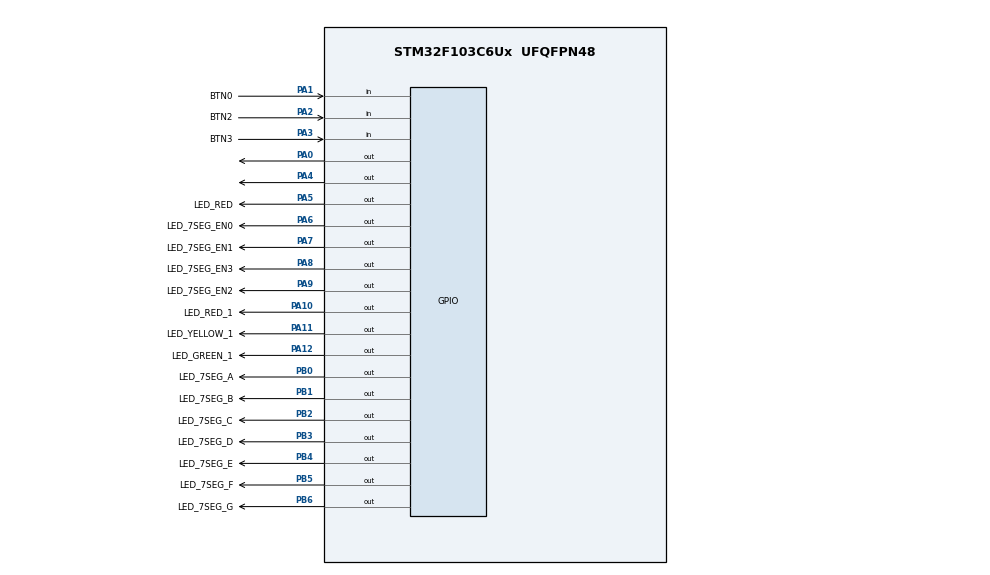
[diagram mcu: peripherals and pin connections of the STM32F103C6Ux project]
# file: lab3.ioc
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Mcu.Family=STM32F1
Mcu.Name=STM32F103C6Ux
Mcu.Package=UFQFPN48
NVIC.PriorityGroup=NVIC_PRIORITYGROUP_4
NVIC.TIM2_IRQn=true\:0\:0\:false\:false\:true\:true\:true
PA0-WKUP.Signal=GPIO_Output
PA1.GPIO_Label=BTN0
PA1.GPIO_PuPd=GPIO_PULLUP
PA1.Signal=GPIO_Input
PA10.GPIO_Label=LED_RED_1
PA10.Signal=GPIO_Output
PA11.GPIO_Label=LED_YELLOW_1
PA11.Signal=GPIO_Output
PA12.GPIO_Label=LED_GREEN_1
PA12.Signal=GPIO_Output
PA2.GPIO_Label=BTN2
PA2.GPIO_PuPd=GPIO_PULLUP
PA2.Signal=GPIO_Input
PA3.GPIO_Label=BTN3
PA3.GPIO_PuPd=GPIO_PULLUP
PA3.Signal=GPIO_Input
PA4.Signal=GPIO_Output
PA5.GPIO_Label=LED_RED
PA5.Signal=GPIO_Output
PA6.GPIO_Label=LED_7SEG_EN0
PA6.Signal=GPIO_Output
PA7.GPIO_Label=LED_7SEG_EN1
PA7.Signal=GPIO_Output
PA8.GPIO_Label=LED_7SEG_EN3
PA8.Signal=GPIO_Output
PA9.GPIO_Label=LED_7SEG_EN2
PA9.Signal=GPIO_Output
PB0.GPIO_Label=LED_7SEG_A
PB0.Signal=GPIO_Output
PB1.GPIO_Label=LED_7SEG_B
PB1.Signal=GPIO_Output
PB2.GPIO_Label=LED_7SEG_C
PB2.Signal=GPIO_Output
PB3.GPIO_Label=LED_7SEG_D
PB3.Signal=GPIO_Output
PB4.GPIO_Label=LED_7SEG_E
PB4.Signal=GPIO_Output
PB5.GPIO_Label=LED_7SEG_F
PB5.Signal=GPIO_Output
PB6.GPIO_Label=LED_7SEG_G
PB6.Signal=GPIO_Output
ProjectManager.HeapSize=0x200
ProjectManager.StackSize=0x400
ProjectManager.TargetToolchain=STM32CubeIDE
RCC.APB1Freq_Value=8000000
RCC.APB2Freq_Value=8000000
TIM2.Period=10-1
TIM2.Prescaler=8000-1
VP_SYS_VS_ND.Mode=No_Debug
VP_TIM2_VS_ClockSourceINT.Mode=Internal
board=custom

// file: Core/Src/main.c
/* USER CODE BEGIN Header */
/**
  ******************************************************************************
  * @file           : main.c
  * @brief          : Main program body
  ******************************************************************************
  * @attention
  *
  * <h2><center>&copy; Copyright (c) 2022 STMicroelectronics.
  * All rights reserved.</center></h2>
  *
  * This software component is licensed by ST under BSD 3-Clause license,
  * the "License"; You may not use this file except in compliance with the
  * License. You may obtain a copy of the License at:
  *                        opensource.org/licenses/BSD-3-Clause
  *
  ******************************************************************************
  */
/* USER CODE END Header */
#include "main.h"

/* USER CODE BEGIN Includes */
#include "software_timer.h"
#include "input_processing.h"
#include "input_reading.h"
#include "led_7seg_display.h"
#include "fsm_automatic.h"
#include "fsm_manual.h"
#include "button.h"
/* USER CODE END Includes */

TIM_HandleTypeDef htim2;

void SystemClock_Config(void);
static void MX_TIM2_Init(void);
static void MX_GPIO_Init(void);

int main(void)
{

  /* MCU Configuration--------------------------------------------------------*/

  /* Reset of all peripherals, Initializes the Flash interface and the Systick. */
  HAL_Init();

  /* Configure the system clock */
  SystemClock_Config();

  /* Initialize all configured peripherals */
  MX_TIM2_Init();
  MX_GPIO_Init();
  /* USER CODE BEGIN 2 */
  HAL_TIM_Base_Start_IT(&htim2);
  /* USER CODE END 2 */

  /* Infinite loop */
  /* USER CODE BEGIN WHILE */
  while (1)
  {
	  fsm_automatic_run();
	  fsm_manual_run();
	  fsm_for_input_processing ();

    /* USER CODE END WHILE */

  }
}

void SystemClock_Config(void)
{
  RCC_OscInitTypeDef RCC_OscInitStruct = {0};
  RCC_ClkInitTypeDef RCC_ClkInitStruct = {0};

  /** Initializes the RCC Oscillators according to the specified parameters
  * in the RCC_OscInitTypeDef structure.
  */
  RCC_OscInitStruct.OscillatorType = RCC_OSCILLATORTYPE_HSI;
  RCC_OscInitStruct.HSIState = RCC_HSI_ON;
  RCC_OscInitStruct.HSICalibrationValue = RCC_HSICALIBRATION_DEFAULT;
  RCC_OscInitStruct.PLL.PLLState = RCC_PLL_NONE;
  if (HAL_RCC_OscConfig(&RCC_OscInitStruct) != HAL_OK)
  {
    Error_Handler();
  }
  /** Initializes the CPU, AHB and APB buses clocks
  */
  RCC_ClkInitStruct.ClockType = RCC_CLOCKTYPE_HCLK|RCC_CLOCKTYPE_SYSCLK
                              |RCC_CLOCKTYPE_PCLK1|RCC_CLOCKTYPE_PCLK2;
  RCC_ClkInitStruct.SYSCLKSource = RCC_SYSCLKSOURCE_HSI;
  RCC_ClkInitStruct.AHBCLKDivider = RCC_SYSCLK_DIV1;
  RCC_ClkInitStruct.APB1CLKDivider = RCC_HCLK_DIV1;
  RCC_ClkInitStruct.APB2CLKDivider = RCC_HCLK_DIV1;

  if (HAL_RCC_ClockConfig(&RCC_ClkInitStruct, FLASH_LATENCY_0) != HAL_OK)
  {
    Error_Handler();
  }
}

static void MX_TIM2_Init(void)
{

  TIM_ClockConfigTypeDef sClockSourceConfig = {0};
  TIM_MasterConfigTypeDef sMasterConfig = {0};

  htim2.Instance = TIM2;
  htim2.Init.Prescaler = 8000-1;
  htim2.Init.CounterMode = TIM_COUNTERMODE_UP;
  htim2.Init.Period = 10-1;
  htim2.Init.ClockDivision = TIM_CLOCKDIVISION_DIV1;
  htim2.Init.AutoReloadPreload = TIM_AUTORELOAD_PRELOAD_DISABLE;
  if (HAL_TIM_Base_Init(&htim2) != HAL_OK)
  {
    Error_Handler();
  }
  sClockSourceConfig.ClockSource = TIM_CLOCKSOURCE_INTERNAL;
  if (HAL_TIM_ConfigClockSource(&htim2, &sClockSourceConfig) != HAL_OK)
  {
    Error_Handler();
  }
  sMasterConfig.MasterOutputTrigger = TIM_TRGO_RESET;
  sMasterConfig.MasterSlaveMode = TIM_MASTERSLAVEMODE_DISABLE;
  if (HAL_TIMEx_MasterConfigSynchronization(&htim2, &sMasterConfig) != HAL_OK)
  {
    Error_Handler();
  }

}

static void MX_GPIO_Init(void)
{
  GPIO_InitTypeDef GPIO_InitStruct = {0};

  /* GPIO Ports Clock Enable */
  __HAL_RCC_GPIOA_CLK_ENABLE();
  __HAL_RCC_GPIOB_CLK_ENABLE();

  /*Configure GPIO pin Output Level */
  HAL_GPIO_WritePin(GPIOA, GPIO_PIN_0|GPIO_PIN_4|LED_RED_Pin|LED_7SEG_EN0_Pin
                          |LED_7SEG_EN1_Pin|LED_7SEG_EN3_Pin|LED_7SEG_EN2_Pin|LED_RED_1_Pin
                          |LED_YELLOW_1_Pin|LED_GREEN_1_Pin, GPIO_PIN_RESET);

  /*Configure GPIO pin Output Level */
  HAL_GPIO_WritePin(GPIOB, LED_7SEG_A_Pin|LED_7SEG_B_Pin|LED_7SEG_C_Pin|LED_7SEG_D_Pin
                          |LED_7SEG_E_Pin|LED_7SEG_F_Pin|LED_7SEG_G_Pin, GPIO_PIN_RESET);

  /*Configure GPIO pins : PA0 PA4 LED_RED_Pin LED_7SEG_EN0_Pin
                           LED_7SEG_EN1_Pin LED_7SEG_EN3_Pin LED_7SEG_EN2_Pin LED_RED_1_Pin
                           LED_YELLOW_1_Pin LED_GREEN_1_Pin */
  GPIO_InitStruct.Pin = GPIO_PIN_0|GPIO_PIN_4|LED_RED_Pin|LED_7SEG_EN0_Pin
                          |LED_7SEG_EN1_Pin|LED_7SEG_EN3_Pin|LED_7SEG_EN2_Pin|LED_RED_1_Pin
                          |LED_YELLOW_1_Pin|LED_GREEN_1_Pin;
  GPIO_InitStruct.Mode = GPIO_MODE_OUTPUT_PP;
  GPIO_InitStruct.Pull = GPIO_NOPULL;
  GPIO_InitStruct.Speed = GPIO_SPEED_FREQ_LOW;
  HAL_GPIO_Init(GPIOA, &GPIO_InitStruct);

  /*Configure GPIO pins : BTN0_Pin BTN2_Pin BTN3_Pin */
  GPIO_InitStruct.Pin = BTN0_Pin|BTN2_Pin|BTN3_Pin;
  GPIO_InitStruct.Mode = GPIO_MODE_INPUT;
  GPIO_InitStruct.Pull = GPIO_PULLUP;
  HAL_GPIO_Init(GPIOA, &GPIO_InitStruct);

  /*Configure GPIO pins : LED_7SEG_A_Pin LED_7SEG_B_Pin LED_7SEG_C_Pin LED_7SEG_D_Pin
                           LED_7SEG_E_Pin LED_7SEG_F_Pin LED_7SEG_G_Pin */
  GPIO_InitStruct.Pin = LED_7SEG_A_Pin|LED_7SEG_B_Pin|LED_7SEG_C_Pin|LED_7SEG_D_Pin
                          |LED_7SEG_E_Pin|LED_7SEG_F_Pin|LED_7SEG_G_Pin;
  GPIO_InitStruct.Mode = GPIO_MODE_OUTPUT_PP;
  GPIO_InitStruct.Pull = GPIO_NOPULL;
  GPIO_InitStruct.Speed = GPIO_SPEED_FREQ_LOW;
  HAL_GPIO_Init(GPIOB, &GPIO_InitStruct);

}

/* USER CODE BEGIN 4 */
void HAL_TIM_PeriodElapsedCallback(TIM_HandleTypeDef *htim) {
  timerRun();
  timer1Run();
  timerTrafficLightRun();
  getKeyInput();
  update7segTimerRun();
  if(htim -> Instance == TIM2 ){
	  button_reading();
  }
}
/* USER CODE END 4 */

void Error_Handler(void)
{
  __disable_irq();
  while (1)
  {
  }
}

/************************ (C) COPYRIGHT STMicroelectronics *****END OF FILE****/
